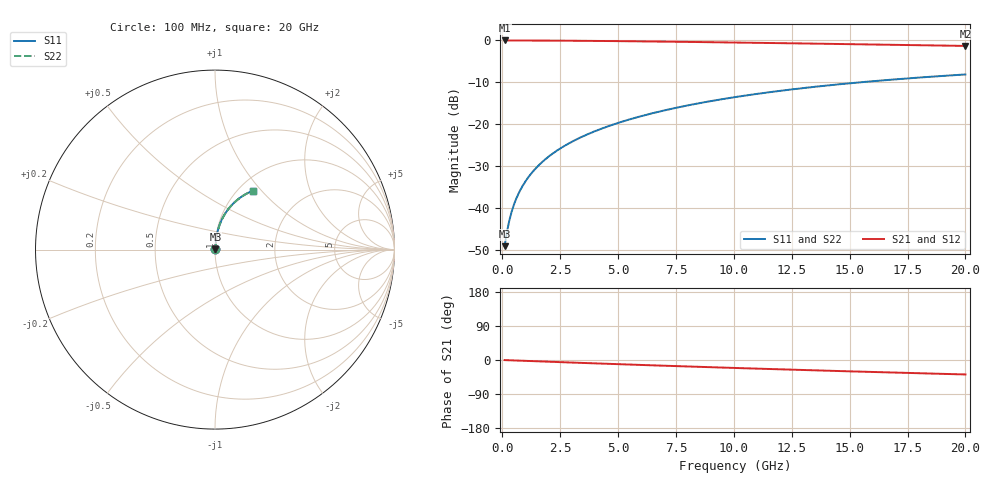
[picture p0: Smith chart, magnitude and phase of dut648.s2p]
! Touchstone file exported from HFSS 2024.1.0
!  File:  C:/UserFiles/LocalFiles/RDL_TSV_Batchsim/temp_RDL_bottom_648_1779785205.aedt
!  Generated:  04:49:30 PM May 26, 2026
!  Design:  RDL_bottom
!  Project:  temp_RDL_bottom_648_1779785205
!  Setup:  Setup1
!  Solution:  Sweep
! Variables:
!  dtsv = 10.80580581um
!  hbump = 3um
!  htsv = 57.46um
!  ldown = 513.13um
!  lrdl = 100um
!  p = 40
!  p1 = 51.08um
!  rhole = 1um
!  t = 450um
!  tdown = 3.8um
!  trdl = 3.915915916um
!  wdown = 18.43um
!  wrdl = 20um
# GHz S MA R 50.000000
! Terminal data exported
! Port[1] = RDL1_T1
! Port[2] = RDL1_T2
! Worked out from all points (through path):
!   200 points, 100 MHz to 20 GHz, reference 50 ohm
!   highest |S21| = -0.02 dB at 100 MHz (marker M1); lowest = -1.3 dB at 20 GHz (marker M2)
!   group delay of S21, straight-line fit = 5.27 ps
!   lowest |S11| = -49.1 dB at 100 MHz (marker M3), VSWR 1.01, Z = 50.3 + j0.219 ohm
!   |S11| at or under -10 dB: start of sweep to 15.48 GHz
!   |S22| runs from -49.1 to -8.1 dB; largest |S21 - S12| = 5.1e-15
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0.1  0.003507 38.3  0.9972 -0.2  0.9972 -0.2  0.003507 38.3
! Gamma 0 0 0 0
! Port Impedance 50 0 50 0
0.2  0.005164 56.4  0.9971 -0.5  0.9971 -0.5  0.005164 56.4
0.3  0.007035 65.0  0.997 -0.7  0.997 -0.7  0.007035 65.0
0.4  0.008958 69.8  0.9968 -0.9  0.9968 -0.9  0.008958 69.8
0.5  0.0109 73.0  0.9967 -1.2  0.9967 -1.2  0.0109 73.0
0.6  0.01286 75.2  0.9966 -1.4  0.9966 -1.4  0.01286 75.2
0.8  0.01681 78.1  0.9963 -1.8  0.9963 -1.8  0.01681 78.1
1.1  0.02279 80.6  0.9958 -2.5  0.9958 -2.5  0.02279 80.5
1.5  0.03086 82.2  0.9949 -3.4  0.9949 -3.4  0.03086 82.2
1.8  0.03695 82.8  0.9941 -4.1  0.9941 -4.1  0.03695 82.8
2.1  0.04307 83.2  0.9932 -4.7  0.9932 -4.7  0.04307 83.2
2.7  0.0554 83.4  0.9911 -6.1  0.9911 -6.1  0.0554 83.4
3.5  0.07199 83.1  0.9875 -7.8  0.9875 -7.8  0.07199 83.1
4.2  0.08664 82.6  0.9839 -9.3  0.9839 -9.3  0.08664 82.6
5  0.1035 81.8  0.9792 -11.0  0.9792 -11.0  0.1035 81.8
5.9  0.1226 80.7  0.9734 -12.9  0.9734 -12.9  0.1226 80.6
6.8  0.1418 79.4  0.9672 -14.7  0.9672 -14.7  0.1418 79.4
8.4  0.1758 76.9  0.9554 -17.9  0.9554 -17.9  0.1758 76.9
10.1  0.2114 74.0  0.9421 -21.1  0.9421 -21.1  0.2114 74.0
13.4  0.2774 68.3  0.915 -27.1  0.915 -27.1  0.2774 68.2
16.7  0.3379 62.5  0.8868 -32.8  0.8868 -32.8  0.3378 62.5
20  0.3919 57.1  0.8582 -38.2  0.8582 -38.2  0.3918 57.1
